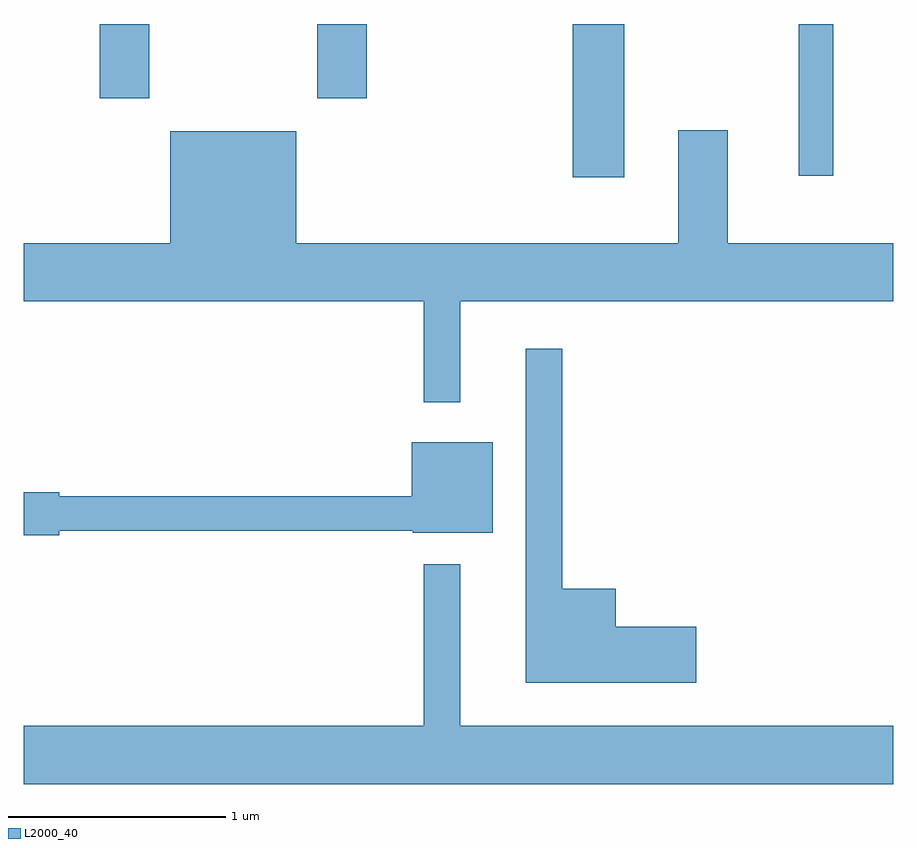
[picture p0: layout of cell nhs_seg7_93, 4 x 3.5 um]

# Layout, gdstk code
import gdstk
lib = gdstk.Library(unit=1e-6, precision=1e-09)
def R(c, l, rs):  # rectangles x0, y0, x1, y1
    for r in rs: c.add(gdstk.rectangle(r[:2], r[2:], *l))
def P(c, l, *ps):  # polygons
    for p in ps: c.add(gdstk.Polygon(p, *l))
L2000_40 = (2000, 40)

nhs_seg7_93 = lib.new_cell('nhs_seg7_93')
R(nhs_seg7_93, L2000_40, [(190.136,1721.546,190.374,1722.252), (191.176,1721.553,191.334,1722.252), (187.961,1721.911,188.189,1722.252), (188.961,1721.911,189.189,1722.252)])
P(nhs_seg7_93, L2000_40, [(189.619,1720.976),(191.611,1720.976),(191.611,1721.244),(190.849,1721.244),(190.849,1721.764),(190.621,1721.764),(190.621,1721.244),(188.864,1721.244),(188.864,1721.759),(188.286,1721.759),(188.286,1721.244),(187.611,1721.244),(187.611,1720.976),(189.451,1720.976),(189.451,1720.513),(189.619,1720.513)],
  [(190.704,1719.479),(190.334,1719.479),(190.334,1719.654),(190.089,1719.654),(190.089,1720.758),(189.921,1720.758),(189.921,1719.221),(190.704,1719.221)],
  [(187.774,1719.921),(189.4,1719.921),(189.4,1719.911),(189.769,1719.911),(189.769,1720.329),(189.396,1720.329),(189.396,1720.079),(187.774,1720.079),(187.774,1720.099),(187.611,1720.099),(187.611,1719.901),(187.774,1719.901)],
  [(191.611,1719.024),(189.619,1719.024),(189.619,1719.768),(189.451,1719.768),(189.451,1719.024),(187.611,1719.024),(187.611,1718.756),(191.611,1718.756)])

lib.write_gds('nhs_seg7_93.gds')
